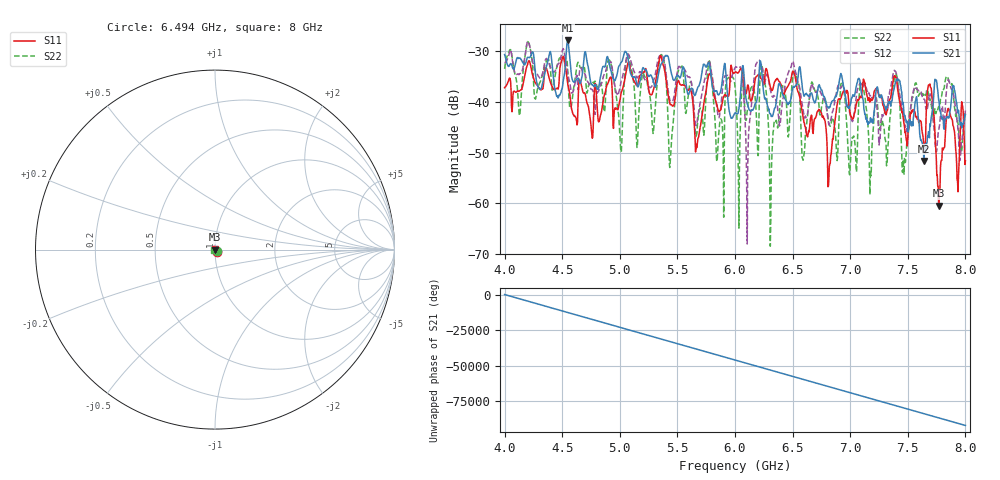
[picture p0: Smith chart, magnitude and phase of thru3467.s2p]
# Hz  S  RI  R  50.0
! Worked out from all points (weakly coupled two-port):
!   1000 points, 4 GHz to 8 GHz, reference 50 ohm
!   highest |S21| = -27.93 dB at 4.549 GHz (marker M1); lowest = -51.7 dB at 7.64 GHz (marker M2)
!   lowest |S11| = -60.5 dB at 7.768 GHz (marker M3), VSWR 1.00, Z = 49.9 - j0.0095 ohm
!   |S11| at or under -10 dB: start of sweep to end of sweep
!   |S22| runs from -68.4 to -28.2 dB; largest |S21 - S12| = 0.032
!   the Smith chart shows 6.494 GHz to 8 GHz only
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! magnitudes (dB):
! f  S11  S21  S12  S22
! 4 GHz  -37.2  -30.7  -32.3  -33.5
! 4.549 GHz  -36.5  -27.9  -34.6  -34.2
! 4.669 GHz  -36.9  -35.4  -33.6  -33.2
! 5.005 GHz  -39.3  -32.5  -36.7  -48.5
! 5.069 GHz  -32.5  -31.2  -30.6  -30.7
! 5.153 GHz  -36.7  -37.0  -35.3  -48.3
! 5.337 GHz  -32.4  -34.3  -31.3  -33.0
! 5.441 GHz  -40.6  -33.8  -40.0  -50.4
! 5.526 GHz  -36.6  -35.2  -33.3  -33.3
! 5.67 GHz  -48.9  -37.7  -44.6  -46.2
! 6.002 GHz  -34.2  -42.3  -33.3  -37.5
! 6.11 GHz  -36.7  -40.6  -53.7  -40.9
! 6.198 GHz  -34.7  -38.1  -32.0  -50.6
! 6.314 GHz  -37.6  -42.9  -38.4  -54.6
! 6.523 GHz  -35.1  -37.0  -33.9  -34.3
! 6.595 GHz  -43.5  -38.5  -42.1  -51.2
! 6.667 GHz  -42.8  -38.3  -36.4  -36.1
! 7.335 GHz  -40.3  -40.0  -38.5  -45.0
! 7.64 GHz  -48.2  -51.7  -39.5  -38.7
! 7.696 GHz  -37.1  -44.8  -38.6  -40.3
! 7.768 GHz  -60.5  -39.6  -45.6  -40.9
! 8 GHz  -51.6  -42.5  -41.7  -41.9
